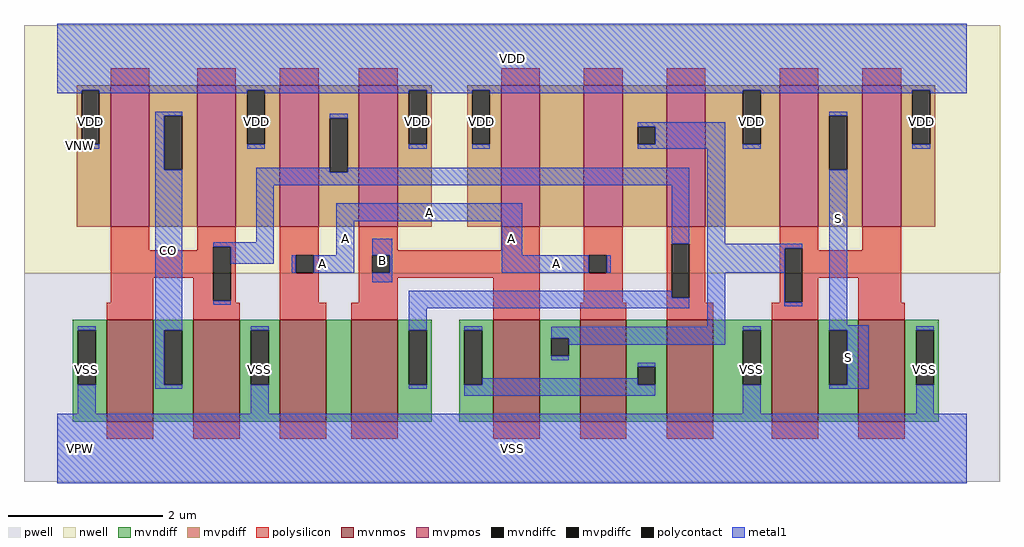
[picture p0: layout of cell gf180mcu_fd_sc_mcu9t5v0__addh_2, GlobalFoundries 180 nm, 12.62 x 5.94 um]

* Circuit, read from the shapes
.subckt gf180mcu_fd_sc_mcu9t5v0__addh_2 A B CO S VDD VNW VPW VSS
XM1 CO n1 VSS VPW nfet_06v0 w=1.32u l=0.6u m=2
XM2 n2 A VSS VPW nfet_06v0 w=1.32u l=0.6u
XM3 n1 B n2 VPW nfet_06v0 w=1.32u l=0.6u
XM4 n3 B n4 VPW nfet_06v0 w=1.32u l=0.6u
XM5 n4 A n3 VPW nfet_06v0 w=1.32u l=0.6u
XM6 VSS n1 n4 VPW nfet_06v0 w=1.32u l=0.6u
XM7 S n3 VSS VPW nfet_06v0 w=1.32u l=0.6u m=2
XM8 CO n1 VDD VNW pfet_06v0 w=1.83u l=0.5u m=2
XM9 n1 A VDD VNW pfet_06v0 w=1.83u l=0.5u
XM10 VDD B n1 VNW pfet_06v0 w=1.83u l=0.5u
XM11 n5 B VDD VNW pfet_06v0 w=1.83u l=0.5u
XM12 n3 A n5 VNW pfet_06v0 w=1.83u l=0.5u
XM13 VDD n1 n3 VNW pfet_06v0 w=1.83u l=0.5u
XM14 S n3 VDD VNW pfet_06v0 w=1.83u l=0.5u m=2
.ends

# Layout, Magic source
magic
tech gf180mcuD
magscale 1 10
<< nwell >>
rect -86 453 2438 1094
<< pwell >>
rect -86 -86 2438 453
<< mvnmos >>
rect 128 69 248 333
rect 352 69 472 333
rect 576 69 696 333
rect 760 69 880 333
rect 1128 69 1248 333
rect 1352 69 1472 333
rect 1576 69 1696 333
rect 1848 69 1968 333
rect 2072 69 2192 333
<< mvpmos >>
rect 138 573 238 939
rect 362 573 462 939
rect 576 573 676 939
rect 780 573 880 939
rect 1148 573 1248 939
rect 1362 573 1462 939
rect 1576 573 1676 939
rect 1868 573 1968 939
rect 2082 573 2182 939
<< mvndiff >>
rect 40 305 128 333
rect 40 165 53 305
rect 99 165 128 305
rect 40 69 128 165
rect 248 305 352 333
rect 248 165 277 305
rect 323 165 352 305
rect 248 69 352 165
rect 472 305 576 333
rect 472 165 501 305
rect 547 165 576 305
rect 472 69 576 165
rect 696 69 760 333
rect 880 305 968 333
rect 880 165 909 305
rect 955 165 968 305
rect 880 69 968 165
rect 1040 305 1128 333
rect 1040 165 1053 305
rect 1099 165 1128 305
rect 1040 69 1128 165
rect 1248 285 1352 333
rect 1248 239 1277 285
rect 1323 239 1352 285
rect 1248 69 1352 239
rect 1472 211 1576 333
rect 1472 165 1501 211
rect 1547 165 1576 211
rect 1472 69 1576 165
rect 1696 305 1848 333
rect 1696 165 1773 305
rect 1819 165 1848 305
rect 1696 69 1848 165
rect 1968 305 2072 333
rect 1968 165 1997 305
rect 2043 165 2072 305
rect 1968 69 2072 165
rect 2192 305 2280 333
rect 2192 165 2221 305
rect 2267 165 2280 305
rect 2192 69 2280 165
<< mvpdiff >>
rect 50 926 138 939
rect 50 786 63 926
rect 109 786 138 926
rect 50 573 138 786
rect 238 860 362 939
rect 238 720 277 860
rect 323 720 362 860
rect 238 573 362 720
rect 462 926 576 939
rect 462 786 491 926
rect 537 786 576 926
rect 462 573 576 786
rect 676 854 780 939
rect 676 714 705 854
rect 751 714 780 854
rect 676 573 780 714
rect 880 926 968 939
rect 880 786 909 926
rect 955 786 968 926
rect 880 573 968 786
rect 1060 926 1148 939
rect 1060 786 1073 926
rect 1119 786 1148 926
rect 1060 573 1148 786
rect 1248 573 1362 939
rect 1462 832 1576 939
rect 1462 786 1501 832
rect 1547 786 1576 832
rect 1462 573 1576 786
rect 1676 926 1868 939
rect 1676 786 1773 926
rect 1819 786 1868 926
rect 1676 573 1868 786
rect 1968 860 2082 939
rect 1968 720 1997 860
rect 2043 720 2082 860
rect 1968 573 2082 720
rect 2182 926 2270 939
rect 2182 786 2211 926
rect 2257 786 2270 926
rect 2182 573 2270 786
<< mvndiffc >>
rect 53 165 99 305
rect 277 165 323 305
rect 501 165 547 305
rect 909 165 955 305
rect 1053 165 1099 305
rect 1277 239 1323 285
rect 1501 165 1547 211
rect 1773 165 1819 305
rect 1997 165 2043 305
rect 2221 165 2267 305
<< mvpdiffc >>
rect 63 786 109 926
rect 277 720 323 860
rect 491 786 537 926
rect 705 714 751 854
rect 909 786 955 926
rect 1073 786 1119 926
rect 1501 786 1547 832
rect 1773 786 1819 926
rect 1997 720 2043 860
rect 2211 786 2257 926
<< polysilicon >>
rect 138 939 238 983
rect 362 939 462 983
rect 576 939 676 983
rect 780 939 880 983
rect 1148 939 1248 983
rect 1362 939 1462 983
rect 1576 939 1676 983
rect 1868 939 1968 983
rect 2082 939 2182 983
rect 138 513 238 573
rect 362 522 462 573
rect 362 513 403 522
rect 138 441 403 513
rect 138 377 248 441
rect 128 333 248 377
rect 352 382 403 441
rect 449 382 462 522
rect 352 377 462 382
rect 576 500 676 573
rect 576 454 617 500
rect 663 454 676 500
rect 576 377 676 454
rect 780 513 880 573
rect 1148 513 1248 573
rect 780 500 1248 513
rect 780 454 814 500
rect 860 454 1248 500
rect 780 441 1248 454
rect 780 377 880 441
rect 352 333 472 377
rect 576 333 696 377
rect 760 333 880 377
rect 1128 333 1248 441
rect 1362 500 1462 573
rect 1362 454 1375 500
rect 1421 454 1462 500
rect 1362 377 1462 454
rect 1576 529 1676 573
rect 1576 389 1589 529
rect 1635 389 1676 529
rect 1576 377 1676 389
rect 1868 518 1968 573
rect 1868 378 1881 518
rect 1927 513 1968 518
rect 2082 513 2182 573
rect 1927 441 2182 513
rect 1927 378 1968 441
rect 1868 377 1968 378
rect 1352 333 1472 377
rect 1576 333 1696 377
rect 1848 333 1968 377
rect 2072 377 2182 441
rect 2072 333 2192 377
rect 128 25 248 69
rect 352 25 472 69
rect 576 25 696 69
rect 760 25 880 69
rect 1128 25 1248 69
rect 1352 25 1472 69
rect 1576 25 1696 69
rect 1848 25 1968 69
rect 2072 25 2192 69
<< polycontact >>
rect 403 382 449 522
rect 617 454 663 500
rect 814 454 860 500
rect 1375 454 1421 500
rect 1589 389 1635 529
rect 1881 378 1927 518
<< metal1 >>
rect 0 926 2352 1098
rect 0 918 63 926
rect 109 918 491 926
rect 63 775 109 786
rect 254 860 323 871
rect 254 720 277 860
rect 537 918 909 926
rect 491 775 537 786
rect 705 854 751 865
rect 53 305 99 316
rect 53 90 99 165
rect 254 305 323 720
rect 514 714 705 726
rect 955 918 1073 926
rect 909 775 955 786
rect 1119 918 1773 926
rect 1073 775 1119 786
rect 1501 832 1727 843
rect 1547 786 1727 832
rect 1501 775 1727 786
rect 1819 918 2211 926
rect 1773 775 1819 786
rect 1997 860 2043 871
rect 751 714 1635 726
rect 514 680 1635 714
rect 514 533 560 680
rect 403 522 560 533
rect 449 477 560 522
rect 722 588 1202 634
rect 722 500 768 588
rect 606 454 617 500
rect 663 454 768 500
rect 814 500 866 542
rect 860 454 866 500
rect 1150 500 1202 588
rect 1589 529 1635 680
rect 1150 454 1375 500
rect 1421 454 1432 500
rect 814 430 866 454
rect 403 371 449 382
rect 909 389 1589 408
rect 909 362 1635 389
rect 1681 529 1727 775
rect 2257 918 2352 926
rect 2211 775 2257 786
rect 1681 518 1927 529
rect 1681 454 1881 518
rect 254 165 277 305
rect 254 154 323 165
rect 501 305 547 316
rect 501 90 547 165
rect 909 305 955 362
rect 909 154 955 165
rect 1053 305 1099 316
rect 1681 314 1727 454
rect 1880 378 1881 454
rect 1880 367 1927 378
rect 1997 318 2043 720
rect 1277 285 1727 314
rect 1323 268 1727 285
rect 1773 305 1819 316
rect 1277 228 1323 239
rect 1501 211 1547 222
rect 1099 165 1501 182
rect 1053 136 1547 165
rect 1773 90 1819 165
rect 1997 305 2098 318
rect 2043 165 2098 305
rect 1997 154 2098 165
rect 2221 305 2267 316
rect 2221 90 2267 165
rect 0 -90 2352 90
<< labels >>
flabel metal1 s 722 588 1202 634 0 FreeSans 200 0 0 0 A
port 1 nsew default input
flabel metal1 s 814 430 866 542 0 FreeSans 200 0 0 0 B
port 2 nsew default input
flabel metal1 s 254 154 323 871 0 FreeSans 200 0 0 0 CO
port 3 nsew default output
flabel metal1 s 1997 318 2043 871 0 FreeSans 200 0 0 0 S
port 4 nsew default output
flabel metal1 s 0 918 2352 1098 0 FreeSans 200 0 0 0 VDD
port 5 nsew power bidirectional abutment
flabel metal1 s 2221 90 2267 316 0 FreeSans 200 0 0 0 VSS
port 8 nsew ground bidirectional abutment
flabel nwell s 10 734 110 834 0 FreeSans 400 0 0 0 VNW
port 6 nsew power bidirectional
flabel pwell s 10 -50 110 50 0 FreeSans 400 0 0 0 VPW
port 7 nsew ground bidirectional
rlabel metal1 s 1150 500 1202 588 1 A
port 1 nsew default input
rlabel metal1 s 722 500 768 588 1 A
port 1 nsew default input
rlabel metal1 s 1150 454 1432 500 1 A
port 1 nsew default input
rlabel metal1 s 606 454 768 500 1 A
port 1 nsew default input
rlabel metal1 s 1997 154 2098 318 1 S
port 4 nsew default output
rlabel metal1 s 2211 775 2257 918 1 VDD
port 5 nsew power bidirectional abutment
rlabel metal1 s 1773 775 1819 918 1 VDD
port 5 nsew power bidirectional abutment
rlabel metal1 s 1073 775 1119 918 1 VDD
port 5 nsew power bidirectional abutment
rlabel metal1 s 909 775 955 918 1 VDD
port 5 nsew power bidirectional abutment
rlabel metal1 s 491 775 537 918 1 VDD
port 5 nsew power bidirectional abutment
rlabel metal1 s 63 775 109 918 1 VDD
port 5 nsew power bidirectional abutment
rlabel metal1 s 1773 90 1819 316 1 VSS
port 8 nsew ground bidirectional abutment
rlabel metal1 s 501 90 547 316 1 VSS
port 8 nsew ground bidirectional abutment
rlabel metal1 s 53 90 99 316 1 VSS
port 8 nsew ground bidirectional abutment
rlabel metal1 s 0 -90 2352 90 1 VSS
port 8 nsew ground bidirectional abutment
<< properties >>
string FIXED_BBOX 0 0 2352 1008
string GDS_END 1115666
string GDS_FILE $PDKPATH/libs.ref/gf180mcu_fd_sc_mcu9t5v0/gds/gf180mcu_fd_sc_mcu9t5v0.gds
string GDS_START 1109232
string LEFclass core
string LEFsite GF018hv5v_green_sc9
string LEFsymmetry X Y
<< end >>
